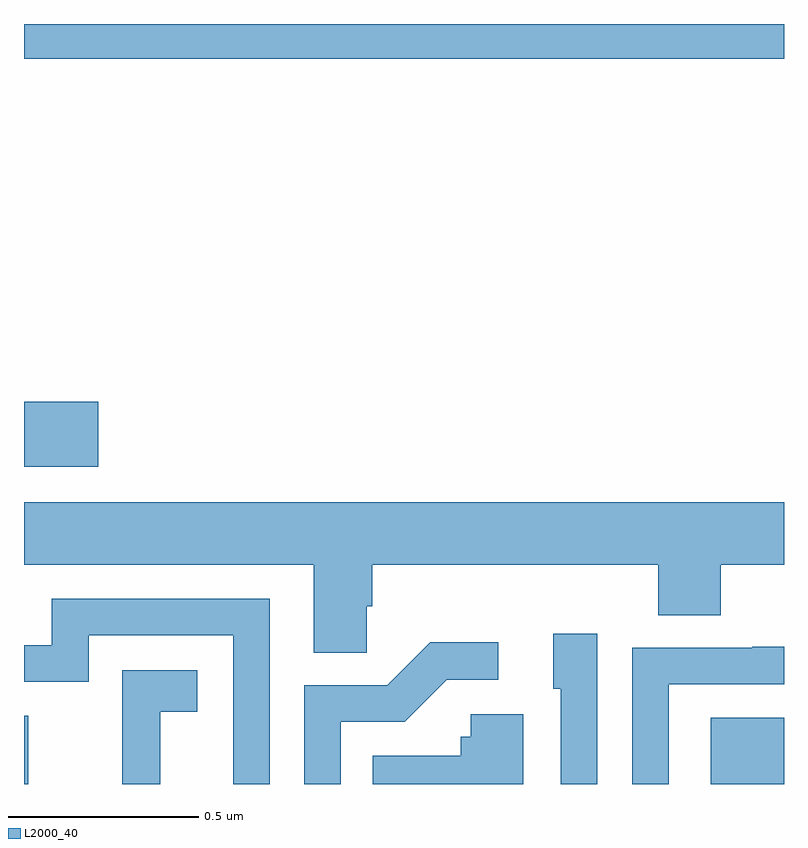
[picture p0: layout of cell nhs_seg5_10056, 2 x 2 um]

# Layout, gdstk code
import gdstk
lib = gdstk.Library(unit=1e-6, precision=1e-09)
def R(c, l, rs):  # rectangles x0, y0, x1, y1
    for r in rs: c.add(gdstk.rectangle(r[:2], r[2:], *l))
def P(c, l, *ps):  # polygons
    for p in ps: c.add(gdstk.Polygon(p, *l))
L2000_40 = (2000, 40)

nhs_seg5_10056 = lib.new_cell('nhs_seg5_10056')
R(nhs_seg5_10056, L2000_40, [(241,906.799,241.011,906.978), (242.807,906.799,243,906.973), (241,907.634,241.195,907.805), (241,908.708,243,908.799)])
P(nhs_seg5_10056, L2000_40, [(241.902,907.267),(241.916,907.267),(241.916,907.376),(242.669,907.376),(242.669,907.243),(242.834,907.243),(242.834,907.376),(243,907.376),(243,907.54),(241,907.54),(241,907.376),(241.763,907.376),(241.763,907.144),(241.902,907.144)],
  [(241.647,907.287),(241.073,907.287),(241.073,907.164),(241,907.164),(241,907.068),(241.17,907.068),(241.17,907.191),(241.551,907.191),(241.551,906.799),(241.647,906.799)],
  [(242.508,907.195),(242.393,907.195),(242.393,907.05),(242.412,907.05),(242.412,906.799),(242.508,906.799)],
  [(241.833,906.963),(242.002,906.963),(242.113,907.074),(242.248,907.074),(242.248,907.172),(242.069,907.172),(241.956,907.059),(241.737,907.059),(241.737,906.799),(241.833,906.799)],
  [(242.697,907.062),(243,907.062),(243,907.16),(242.917,907.16),(242.917,907.158),(242.601,907.158),(242.601,906.799),(242.697,906.799)],
  [(241.358,906.989),(241.456,906.989),(241.456,907.099),(241.258,907.099),(241.258,906.893),(241.259,906.893),(241.259,906.799),(241.358,906.799)],
  [(242.314,906.982),(242.175,906.982),(242.175,906.924),(242.149,906.924),(242.149,906.874),(241.918,906.874),(241.918,906.799),(242.314,906.799)])

lib.write_gds('nhs_seg5_10056.gds')
